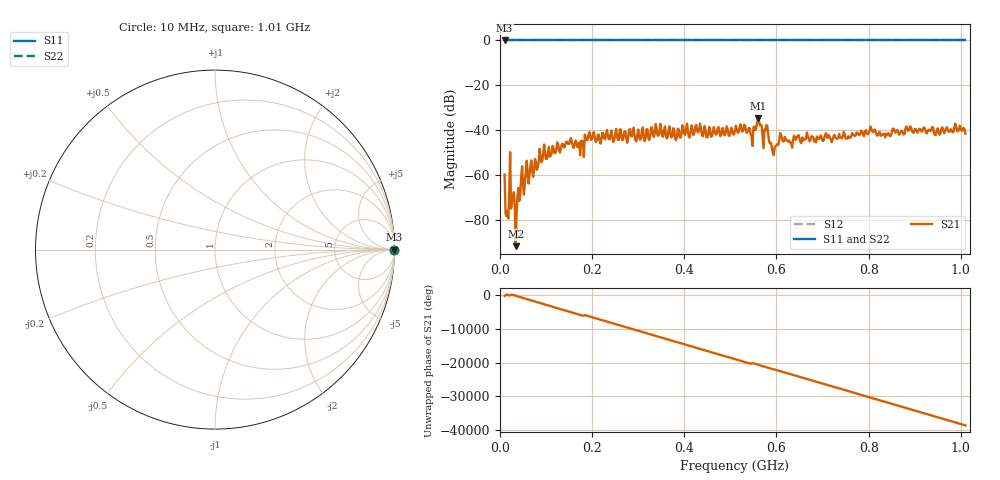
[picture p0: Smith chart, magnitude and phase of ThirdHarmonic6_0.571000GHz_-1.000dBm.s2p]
! 8/15/2025 6:21:21 PM
! C:\ANRITSUVNA\TEMP\TEMP.S2P
! CHANNEL.1
! TR.MEASUREMENT
! RAW.DATA
! RF.CORRECTION.OFF
! AVERAGING.OFF
! IF.BANDWIDTH: 5KHZ
! SWEEPTYPE:  FREQ.SWEEP(Linear)
! Reference Plane Port Info
! PORT:  PORT1  PORT2
! DISTANCE:  0  m  0  m
! TIME:  0  s  0  s
! PHASE.OFFSET:  0  deg.  0  deg.
! LOSS:  0  dB  0  dB
! REF.LOSS:  0  dB  0  dB
! REF.FREQ:  0  Hz  0  Hz
! Power Info
! POWER:  -20  dBm  -20  dBm
! EFF.POWER:  -20  dBm  -20  dBm
! SOURCE.ATTEN:  0  dB  0  dB
! TEST.ATTEN:  0  dB  0  dB
# GHZ S RI R 50.0
! FREQ.GHZ  S11RE  S11IM  S21RE  S21IM  S12RE  S12IM  S22RE  S22IM
!; PortSelection: Port_12
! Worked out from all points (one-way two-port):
!   501 points, 10 MHz to 1.01 GHz, reference 50 ohm
!   highest |S21| = -34.54 dB at 560 MHz (marker M1); lowest = -91.4 dB at 34 MHz (marker M2)
!   lowest |S11| = 0.0 dB at 10 MHz (marker M3)
!   |S11| at or under -10 dB: nowhere
!   |S22| runs from 0.0 to 0.0 dB; largest |S21 - S12| = 1
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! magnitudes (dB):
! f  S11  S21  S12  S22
! 10 MHz  0.0  -59.6  0.0  0.0
! 16 MHz  0.0  -75.8  0.0  0.0
! 18 MHz  0.0  -79.2  0.0  0.0
! 24 MHz  0.0  -74.7  0.0  0.0
! 34 MHz  0.0  -91.4  0.0  0.0
! 38 MHz  0.0  -68.8  0.0  0.0
! 44 MHz  0.0  -68.1  0.0  0.0
! 92 MHz  0.0  -53.4  0.0  0.0
! 150 MHz  0.0  -45.9  0.0  0.0
! 178 MHz  0.0  -46.2  0.0  0.0
! 198 MHz  0.0  -44.2  0.0  0.0
! 344 MHz  0.0  -42.2  0.0  0.0
! 510 MHz  0.0  -40.2  0.0  0.0
! 546 MHz  0.0  -42.5  0.0  0.0
! 560 MHz  0.0  -34.5  0.0  0.0
! 572 MHz  0.0  -47.9  0.0  0.0
! 578 MHz  0.0  -37.6  0.0  0.0
! 594 MHz  0.0  -51.0  0.0  0.0
! 610 MHz  0.0  -42.1  0.0  0.0
! 678 MHz  0.0  -42.7  0.0  0.0
! 844 MHz  0.0  -41.6  0.0  0.0
! 1.01 GHz  0.0  -41.4  0.0  0.0
